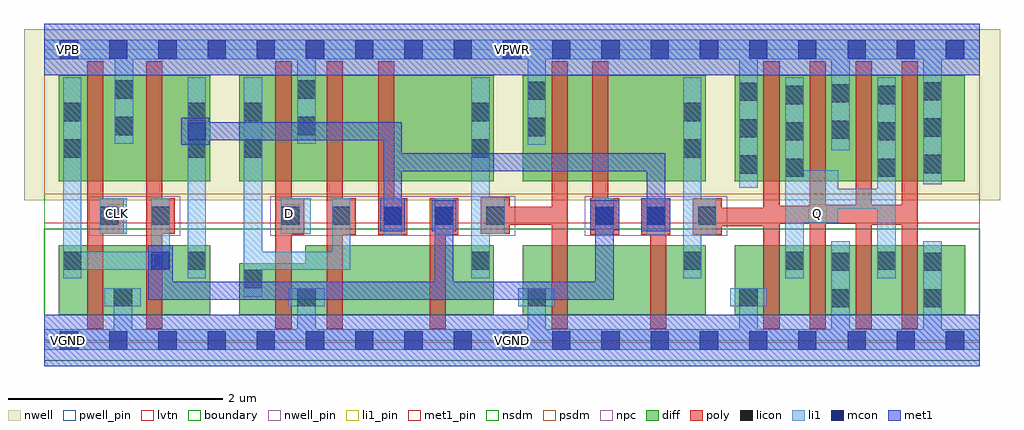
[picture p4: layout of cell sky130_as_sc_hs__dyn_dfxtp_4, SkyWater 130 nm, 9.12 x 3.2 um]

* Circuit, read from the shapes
.subckt sky130_as_sc_hs__dyn_dfxtp_4 CLK D Q VGND VNB VPB VPWR
XM1 VGND CLK n1 VNB sky130_fd_pr__nfet_01v8_lvt w=0.65 l=0.15
XM2 n2 n1 VGND VNB sky130_fd_pr__nfet_01v8_lvt w=0.65 l=0.15
XM3 VGND D n3 VNB sky130_fd_pr__nfet_01v8_lvt w=0.48 l=0.15
XM4 n4 n3 VGND VNB sky130_fd_pr__nfet_01v8_lvt w=0.65 l=0.15
XM5 n5 n1 n4 VNB sky130_fd_pr__nfet_01v8_lvt w=0.65 l=0.15
XM6 n6 n5 VGND VNB sky130_fd_pr__nfet_01v8_lvt w=0.65 l=0.15
XM7 n7 n2 n6 VNB sky130_fd_pr__nfet_01v8_lvt w=0.65 l=0.15
XM8 Q n7 VGND VNB sky130_fd_pr__nfet_01v8_lvt w=0.65 l=0.15 m=4
XM9 VPWR CLK n1 VPB sky130_fd_pr__pfet_01v8 w=0.99 l=0.15
XM10 n2 n1 VPWR VPB sky130_fd_pr__pfet_01v8 w=0.99 l=0.15
XM11 VPWR D n3 VPB sky130_fd_pr__pfet_01v8 w=0.99 l=0.15
XM12 n8 n3 VPWR VPB sky130_fd_pr__pfet_01v8 w=0.99 l=0.15
XM13 n5 n2 n8 VPB sky130_fd_pr__pfet_01v8 w=0.99 l=0.15
XM14 n9 n5 VPWR VPB sky130_fd_pr__pfet_01v8 w=0.99 l=0.15
XM15 n7 n1 n9 VPB sky130_fd_pr__pfet_01v8 w=0.99 l=0.15
XM16 Q n7 VPWR VPB sky130_fd_pr__pfet_01v8 w=0.99 l=0.15 m=4
.ends

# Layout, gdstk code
import gdstk
lib = gdstk.Library(unit=1e-6, precision=1e-09)
def R(c, l, rs):  # rectangles x0, y0, x1, y1
    for r in rs: c.add(gdstk.rectangle(r[:2], r[2:], *l))
def A(c, l, x, y, w, h, nx, ny, dx, dy):  # array of equal rectangles
    R(c, l, [(x+i*dx, y+j*dy, x+i*dx+w, y+j*dy+h) for i in range(nx) for j in range(ny)])
nwell_pin = (64, 16)
nwell = (64, 20)
diff = (65, 20)
poly = (66, 20)
licon = (66, 44)
li1_pin = (67, 16)
li1 = (67, 20)
mcon = (67, 44)
met1_pin = (68, 16)
met1 = (68, 20)
nsdm = (93, 44)
psdm = (94, 20)
npc = (95, 20)
pwell_pin = (122, 16)
lvtn = (125, 44)
boundary = (235, 4)

sky130_as_sc_hs__dyn_dfx = lib.new_cell('sky130_as_sc_hs__dyn_dfxtp_4')
R(sky130_as_sc_hs__dyn_dfx, nwell_pin, [(0.145,2.635,0.315,2.805)])
R(sky130_as_sc_hs__dyn_dfx, nwell, [(-0.19,1.31,8.93,2.91)])
R(sky130_as_sc_hs__dyn_dfx, diff, [(0.135,0.24,1.55,0.89), (1.82,0.24,4.2,0.72), (4.47,0.24,6.18,0.89), (6.45,0.24,8.605,0.89), (2.44,0.72,4.2,0.89), (0.135,1.49,1.55,2.48), (1.82,1.49,4.2,2.48), (4.47,1.49,6.18,2.48), (6.45,1.49,8.6,2.48)])
A(sky130_as_sc_hs__dyn_dfx, poly, 2.16, 0.99, 0.27, 0.34, 4, 1, 0.48, 0)
A(sky130_as_sc_hs__dyn_dfx, poly, 7.15, 1.27, 0.15, 1.34, 3, 1, 0.43, 0)
A(sky130_as_sc_hs__dyn_dfx, poly, 2.16, 1.33, 0.15, 1.28, 3, 1, 0.48, 0)
R(sky130_as_sc_hs__dyn_dfx, poly, [(0.4,0.11,0.55,1), (0.95,0.11,1.1,1), (2.16,0.11,2.31,0.99), (2.64,0.11,2.79,0.99), (3.6,0.11,3.75,0.99), (4.74,0.11,4.89,1.08), (5.66,0.11,5.81,0.99), (6.72,0.11,6.87,1.07), (7.15,0.11,7.3,1.09), (7.58,0.11,7.73,1.08), (8.01,0.11,8.16,1.08), (5.1,0.99,5.37,1.33), (5.58,0.99,5.85,1.33), (6.06,0.99,6.33,1.07), (0.4,1,0.74,1.33), (0.95,1,1.22,1.33), (4.08,1,4.35,1.08), (6.06,1.07,6.87,1.09), (4.08,1.08,4.89,1.25), (7.58,1.08,8.16,1.09), (6.06,1.09,8.16,1.24), (6.06,1.24,6.33,1.33), (6.72,1.24,8.16,1.26), (4.08,1.25,4.35,1.34), (4.74,1.25,4.89,2.61), (6.72,1.26,6.87,2.61), (7.15,1.26,8.16,1.27), (0.4,1.33,0.55,2.61), (0.95,1.33,1.1,2.61), (5.12,1.33,5.27,2.61)])
A(sky130_as_sc_hs__dyn_dfx, licon, 2.21, 1.08, 0.17, 0.17, 5, 1, 0.48, 0)
A(sky130_as_sc_hs__dyn_dfx, licon, 5.15, 1.08, 0.17, 0.17, 3, 1, 0.48, 0)
A(sky130_as_sc_hs__dyn_dfx, licon, 6.925, 1.53, 0.17, 0.17, 1, 3, 0, 0.34)
A(sky130_as_sc_hs__dyn_dfx, licon, 7.785, 1.53, 0.17, 0.17, 1, 3, 0, 0.34)
A(sky130_as_sc_hs__dyn_dfx, licon, 6.495, 1.56, 0.17, 0.17, 1, 3, 0, 0.34)
A(sky130_as_sc_hs__dyn_dfx, licon, 8.215, 1.565, 0.17, 0.17, 1, 3, 0, 0.34)
R(sky130_as_sc_hs__dyn_dfx, licon, [(7.355,0.31,7.525,0.48), (8.215,0.31,8.385,0.48), (0.65,0.32,0.82,0.49), (2.365,0.32,2.535,0.49), (4.515,0.32,4.685,0.49), (6.495,0.32,6.665,0.49), (1.865,0.49,2.035,0.66), (7.355,0.65,7.525,0.82), (8.215,0.65,8.385,0.82), (0.175,0.66,0.345,0.83), (1.34,0.66,1.51,0.83), (3.99,0.66,4.16,0.83), (5.97,0.66,6.14,0.83), (6.925,0.66,7.095,0.83), (7.785,0.66,7.955,0.83), (0.52,1.08,0.69,1.25), (1,1.08,1.17,1.25), (0.175,1.71,0.345,1.88), (1.34,1.71,1.51,1.88), (1.865,1.71,2.035,1.88), (3.99,1.71,4.16,1.88), (5.97,1.71,6.14,1.88), (7.355,1.885,7.525,2.055), (4.515,1.91,4.685,2.08), (0.66,1.92,0.83,2.09), (2.365,1.92,2.535,2.09), (0.175,2.05,0.345,2.22), (1.34,2.05,1.51,2.22), (1.865,2.05,2.035,2.22), (3.99,2.05,4.16,2.22), (5.97,2.05,6.14,2.22), (7.355,2.225,7.525,2.395), (4.515,2.25,4.685,2.42), (0.66,2.26,0.83,2.43), (2.365,2.26,2.535,2.43)])
R(sky130_as_sc_hs__dyn_dfx, li1_pin, [(0.595,1.105,0.765,1.275), (2.21,1.105,2.38,1.275), (7.14,1.105,7.31,1.275)])
R(sky130_as_sc_hs__dyn_dfx, li1, [(0,-0.085,8.74,0.105), (0.65,0.105,0.82,0.32), (2.365,0.105,2.535,0.32), (4.515,0.105,4.685,0.32), (6.495,0.105,6.665,0.32), (7.355,0.105,7.525,0.93), (8.215,0.105,8.385,0.93), (0.56,0.32,0.9,0.49), (2.28,0.32,2.62,0.49), (4.43,0.32,4.77,0.49), (6.41,0.32,6.75,0.49), (1.865,0.41,2.035,0.66), (0.175,0.58,0.345,0.66), (1.34,0.58,1.51,2.46), (3.99,0.58,4.16,1), (5.97,0.58,6.14,0.99), (6.925,0.58,7.095,1.1), (7.785,0.58,7.955,1.23), (0.175,0.66,1.17,0.83), (1.865,0.66,2.86,0.83), (0.175,0.83,0.345,2.46), (1,0.83,1.17,1.33), (1.865,0.83,2.035,2.46), (2.69,0.83,2.86,1.33), (3.17,0.99,3.34,1.33), (3.65,0.99,3.82,1.33), (5.15,0.99,5.32,1.33), (5.63,0.99,5.8,1.33), (5.97,0.99,6.28,1.33), (0.52,1,0.77,1.33), (2.21,1,2.49,1.33), (3.99,1,4.3,1.34), (6.925,1.1,7.42,1.23), (6.925,1.23,7.955,1.42), (5.97,1.33,6.14,2.46), (3.99,1.34,4.16,2.46), (6.925,1.42,7.42,1.59), (7.785,1.42,7.955,2.46), (6.495,1.43,6.665,2.63), (8.215,1.46,8.385,2.63), (6.925,1.59,7.095,2.46), (7.355,1.78,7.525,2.63), (4.515,1.83,4.685,2.63), (0.66,1.84,0.83,2.63), (2.365,1.84,2.535,2.63), (0,2.63,8.74,2.81)])
A(sky130_as_sc_hs__dyn_dfx, mcon, 0.145, -0.085, 0.17, 0.17, 19, 2, 0.46, 2.72)
R(sky130_as_sc_hs__dyn_dfx, mcon, [(1,0.66,1.17,0.83), (3.17,1.08,3.34,1.25), (3.65,1.08,3.82,1.25), (5.15,1.08,5.32,1.25), (5.63,1.08,5.8,1.25), (1.34,1.87,1.51,2.04)])
R(sky130_as_sc_hs__dyn_dfx, met1_pin, [(0,-0.24,8.74,0.24), (0.145,-0.085,0.315,0.085), (0,2.48,8.74,2.96), (0.145,2.635,0.315,2.805)])
R(sky130_as_sc_hs__dyn_dfx, met1, [(0,-0.24,8.74,0.24), (0.97,0.38,5.32,0.55), (0.97,0.55,1.2,0.89), (3.65,0.55,3.82,1.02), (5.15,0.55,5.32,1.03), (3.14,1.02,3.37,1.33), (3.62,1.02,3.85,1.31), (5.58,1.02,5.85,1.33), (5.1,1.03,5.37,1.31), (3.17,1.33,3.34,1.58), (5.63,1.33,5.8,1.58), (3.17,1.58,5.8,1.75), (3.17,1.75,3.34,1.87), (1.28,1.83,1.54,1.87), (1.28,1.87,3.34,2.04), (1.28,2.04,1.54,2.08), (0,2.48,8.74,2.96)])
R(sky130_as_sc_hs__dyn_dfx, nsdm, [(0,-0.19,8.74,1.045)])
R(sky130_as_sc_hs__dyn_dfx, psdm, [(0,1.365,8.74,2.91)])
R(sky130_as_sc_hs__dyn_dfx, npc, [(0.42,0.98,1.27,1.35), (2.11,0.98,4.4,1.35), (5.05,0.98,6.38,1.35)])
R(sky130_as_sc_hs__dyn_dfx, pwell_pin, [(0.145,-0.085,0.315,0.085)])
R(sky130_as_sc_hs__dyn_dfx, lvtn, [(0,-0.02,8.74,1.1)])
R(sky130_as_sc_hs__dyn_dfx, boundary, [(0,0,8.74,2.72)])
sky130_as_sc_hs__dyn_dfx.add(gdstk.Label('VPB', (0.23,2.72), layer=64, texttype=5))
sky130_as_sc_hs__dyn_dfx.add(gdstk.Label('VPB', (0.23,2.72), layer=64, texttype=5))
sky130_as_sc_hs__dyn_dfx.add(gdstk.Label('VGND', (0.23,0), layer=68, texttype=5))
sky130_as_sc_hs__dyn_dfx.add(gdstk.Label('VGND', (4.37,0), layer=68, texttype=5))
sky130_as_sc_hs__dyn_dfx.add(gdstk.Label('VPWR', (0.23,2.72), layer=68, texttype=5))
sky130_as_sc_hs__dyn_dfx.add(gdstk.Label('VPWR', (4.37,2.72), layer=68, texttype=5))
sky130_as_sc_hs__dyn_dfx.add(gdstk.Label('VNB', (0.23,0), layer=64, texttype=59))
sky130_as_sc_hs__dyn_dfx.add(gdstk.Label('VNB', (0.23,0), layer=64, texttype=59))
sky130_as_sc_hs__dyn_dfx.add(gdstk.Label('Q', (7.225,1.19), layer=67, texttype=5))
sky130_as_sc_hs__dyn_dfx.add(gdstk.Label('Q', (7.225,1.19), layer=67, texttype=5))
sky130_as_sc_hs__dyn_dfx.add(gdstk.Label('D', (2.295,1.19), layer=67, texttype=5))
sky130_as_sc_hs__dyn_dfx.add(gdstk.Label('D', (2.295,1.19), layer=67, texttype=5))
sky130_as_sc_hs__dyn_dfx.add(gdstk.Label('CLK', (0.68,1.19), layer=67, texttype=5))
sky130_as_sc_hs__dyn_dfx.add(gdstk.Label('CLK', (0.68,1.19), layer=67, texttype=5))

lib.write_gds('sky130_as_sc_hs__dyn_dfxtp_4.gds')
